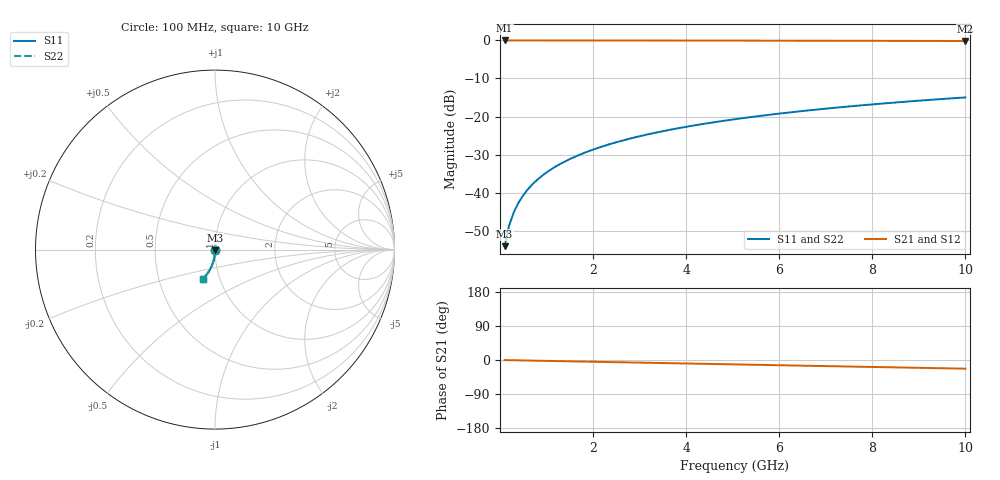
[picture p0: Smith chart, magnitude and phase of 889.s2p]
# Hz S RI R 50.00
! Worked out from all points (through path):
!   100 points, 100 MHz to 10 GHz, reference 50 ohm
!   highest |S21| = -0.01 dB at 100 MHz (marker M1); lowest = -0.2 dB at 10 GHz (marker M2)
!   group delay of S21, straight-line fit = 6.37 ps
!   lowest |S11| = -54.1 dB at 100 MHz (marker M3), VSWR 1.00, Z = 50.1 - j0.184 ohm
!   |S11| at or under -10 dB: start of sweep to end of sweep
!   |S22| runs from -54.1 to -15.0 dB; largest |S21 - S12| = 0
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1e8  0.00072 -0.00184  0.9993 -0.00402  0.9993 -0.00402  0.00072 -0.00184
2e8  0.0007 -0.00368  0.9992 -0.00803  0.9992 -0.00803  0.0007 -0.00368
3e8  0.000664 -0.00552  0.9992 -0.012  0.9992 -0.012  0.000664 -0.00552
4e8  0.000612 -0.00736  0.9991 -0.0161  0.9991 -0.0161  0.000612 -0.00736
5e8  0.000546 -0.0092  0.999 -0.0201  0.999 -0.0201  0.000546 -0.0092
6e8  0.000464 -0.011  0.9989 -0.0241  0.9989 -0.0241  0.000464 -0.011
7e8  0.000367 -0.0129  0.9988 -0.0281  0.9988 -0.0281  0.000367 -0.0129
8e8  0.000255 -0.0147  0.9986 -0.0321  0.9986 -0.0321  0.000255 -0.0147
9e8  0.000129 -0.0165  0.9984 -0.0361  0.9984 -0.0361  0.000129 -0.0165
1.1e9  -0.000169 -0.0202  0.998 -0.0441  0.998 -0.0441  -0.000169 -0.0202
1.4e9  -0.000726 -0.0257  0.9973 -0.0562  0.9973 -0.0562  -0.000726 -0.0257
1.8e9  -0.00168 -0.033  0.996 -0.0722  0.996 -0.0722  -0.00168 -0.033
2.1e9  -0.00254 -0.0385  0.9949 -0.0842  0.9949 -0.0842  -0.00254 -0.0385
2.5e9  -0.0039 -0.0457  0.9931 -0.1001  0.9931 -0.1001  -0.0039 -0.0457
2.9e9  -0.00549 -0.0529  0.991 -0.116  0.991 -0.116  -0.00549 -0.0529
3.4e9  -0.0078 -0.0618  0.9879 -0.1358  0.9879 -0.1358  -0.0078 -0.0618
4.2e9  -0.0122 -0.0758  0.982 -0.1673  0.982 -0.1673  -0.0122 -0.0758
5.1e9  -0.0183 -0.0912  0.9739 -0.2023  0.9739 -0.2023  -0.0183 -0.0912
5.9e9  -0.0246 -0.1045  0.9655 -0.233  0.9655 -0.233  -0.0246 -0.1045
6.7e9  -0.0317 -0.1173  0.956 -0.2633  0.956 -0.2633  -0.0317 -0.1173
8.4e9  -0.0493 -0.1429  0.932 -0.326  0.932 -0.326  -0.0493 -0.1429
1e10  -0.0688 -0.1644  0.9053 -0.3826  0.9053 -0.3826  -0.0688 -0.1644
